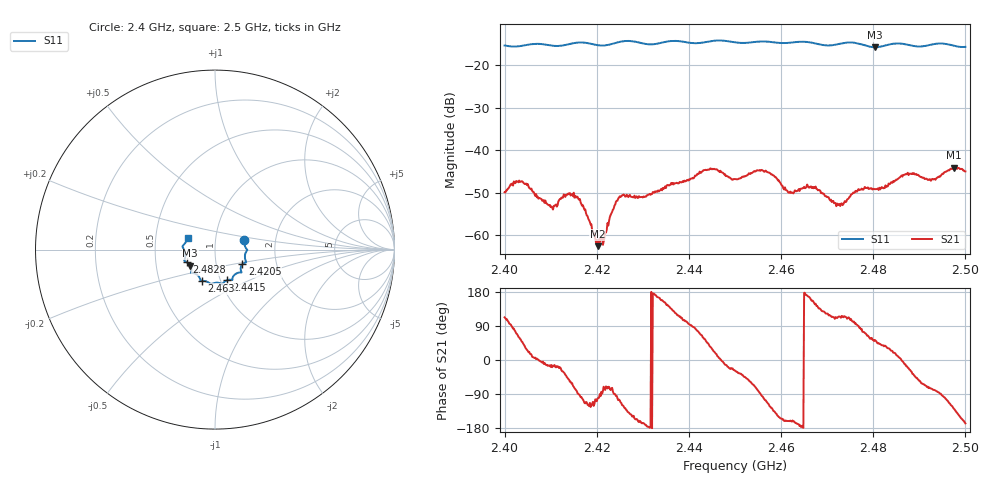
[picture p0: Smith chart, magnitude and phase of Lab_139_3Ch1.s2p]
# Hz S RI R 50
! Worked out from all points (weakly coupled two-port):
!   601 points, 2.4 GHz to 2.5 GHz, reference 50 ohm
!   highest |S21| = -44.10 dB at 2.4975 GHz (marker M1); lowest = -62.6 dB at 2.4202 GHz (marker M2)
!   lowest |S11| = -15.7 dB at 2.4803 GHz (marker M3), VSWR 1.39, Z = 37.4 - j6.83 ohm
!   |S11| at or under -10 dB: start of sweep to end of sweep
!   S12 and S22 are empty: the file has one direction only
!   S11 on the Smith chart (normalised r, x): 2.4 GHz: 1.38, +0.15; 2.4205 GHz: 1.34, -0.23; 2.4415 GHz: 1.07, -0.38; 2.463 GHz: 0.82, -0.29; 2.4828 GHz: 0.72, -0.10; 2.5 GHz: 0.73, +0.10
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2.4e9  0.164 0.0518  -0.00123 0.00295  0 0  0 0
2.403333e9  0.1687 0.0154  0.00237 0.00352  0 0  0 0
2.41e9  0.1715 -0.0159  0.00203 -0.000667  0 0  0 0
2.413833e9  0.1686 -0.056  0.00197 -0.00239  0 0  0 0
2.416667e9  0.1733 -0.07  -0.000315 -0.00229  0 0  0 0
2.420167e9  0.1543 -0.0798  -0.000153 -0.000724  0 0  0 0
2.4205e9  0.1521 -0.0818  -0.00015 -0.000875  0 0  0 0
2.421667e9  0.1458 -0.0919  0.000206 -0.0009  0 0  0 0
2.425167e9  0.1461 -0.1225  -0.00104 -0.00262  0 0  0 0
2.433333e9  0.1004 -0.1514  -0.00326 0.000847  0 0  0 0
2.4415e9  0.0657 -0.1708  0.000775 0.00496  0 0  0 0
2.445167e9  0.0427 -0.1904  0.0054 0.00271  0 0  0 0
2.45e9  0.0242 -0.1859  0.00404 -0.00217  0 0  0 0
2.456167e9  -0.0218 -0.1906  -0.000991 -0.00563  0 0  0 0
2.463e9  -0.0723 -0.1737  -0.00325 -0.000884  0 0  0 0
2.466667e9  -0.0821 -0.1667  -0.00328 0.00145  0 0  0 0
2.4725e9  -0.1226 -0.1306  -0.00094 0.00205  0 0  0 0
2.480333e9  -0.1379 -0.089  0.0021 0.00277  0 0  0 0
2.482833e9  -0.1585 -0.0699  0.00302 0.00213  0 0  0 0
2.483333e9  -0.1625 -0.0679  0.00348 0.00207  0 0  0 0
2.4975e9  -0.1677 0.034  -0.00389 -0.00488  0 0  0 0
2.5e9  -0.1528 0.0645  -0.00549 -0.00123  0 0  0 0
